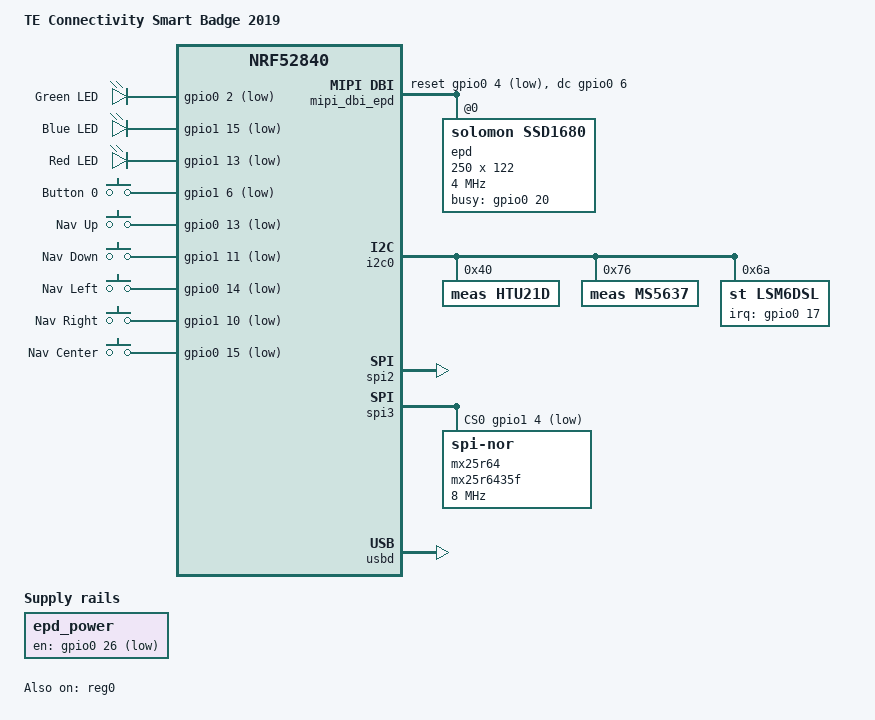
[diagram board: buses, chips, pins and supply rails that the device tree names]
/*
 * Copyright (c) 2025 TE Connectivity
 * SPDX-License-Identifier: Apache-2.0
 */

/dts-v1/;
#include <nordic/nrf52840_qiaa.dtsi>
#include "smart_badge_2019_nrf52840-pinctrl.dtsi"
#include <zephyr/dt-bindings/input/input-event-codes.h>

/ {
	model = "TE Connectivity Smart Badge 2019";
	compatible = "te,smart-badge-2019";

	chosen {
		zephyr,sram = &sram0;
		zephyr,flash = &flash0;
		zephyr,code-partition = &slot0_partition;
		zephyr,display = &epd;
	};

	aliases {
		watchdog0 = &wdt0;
		sw0 = &button0;
		led0 = &led_green;
		led1 = &led_blue;
		led2 = &led_red;
	};

	leds {
		compatible = "gpio-leds";

		led_green: led_0 {
			gpios = <&gpio0 2 GPIO_ACTIVE_LOW>;
			label = "Green LED";
		};

		led_blue: led_1 {
			gpios = <&gpio1 15 GPIO_ACTIVE_LOW>;
			label = "Blue LED";
		};

		led_red: led_2 {
			gpios = <&gpio1 13 GPIO_ACTIVE_LOW>;
			label = "Red LED";
		};
	};

	buttons {
		compatible = "gpio-keys";

		button0: button_0 {
			gpios = <&gpio1 6 (GPIO_PULL_UP | GPIO_ACTIVE_LOW)>;
			label = "Button 0";
			zephyr,code = <INPUT_KEY_0>;
		};
	};

	nav_buttons {
		compatible = "gpio-keys";

		nav_up: nav_up {
			gpios = <&gpio0 13 (GPIO_PULL_UP | GPIO_ACTIVE_LOW)>;
			label = "Nav Up";
			zephyr,code = <INPUT_KEY_UP>;
		};

		nav_down: nav_down {
			gpios = <&gpio1 11 (GPIO_PULL_UP | GPIO_ACTIVE_LOW)>;
			label = "Nav Down";
			zephyr,code = <INPUT_KEY_DOWN>;
		};

		nav_left: nav_left {
			gpios = <&gpio0 14 (GPIO_PULL_UP | GPIO_ACTIVE_LOW)>;
			label = "Nav Left";
			zephyr,code = <INPUT_KEY_LEFT>;
		};

		nav_right: nav_right {
			gpios = <&gpio1 10 (GPIO_PULL_UP | GPIO_ACTIVE_LOW)>;
			label = "Nav Right";
			zephyr,code = <INPUT_KEY_RIGHT>;
		};

		nav_center: nav_center {
			gpios = <&gpio0 15 (GPIO_PULL_UP | GPIO_ACTIVE_LOW)>;
			label = "Nav Center";
			zephyr,code = <INPUT_KEY_ENTER>;
		};
	};

	/* E-ink display power control (active-low P-channel MOSFET) */
	epd_power: epd_power {
		compatible = "regulator-fixed";
		regulator-name = "epd-power";
		enable-gpios = <&gpio0 26 GPIO_ACTIVE_LOW>;
		regulator-boot-on;
	};

	/* MIPI DBI SPI controller for e-ink display */
	mipi_dbi_epd {
		compatible = "zephyr,mipi-dbi-spi";
		spi-dev = <&spi2>;
		dc-gpios = <&gpio0 6 GPIO_ACTIVE_HIGH>;
		reset-gpios = <&gpio0 4 GPIO_ACTIVE_LOW>;
		#address-cells = <1>;
		#size-cells = <0>;

		epd: ssd16xxfb@0 {
			compatible = "solomon,ssd1680";
			mipi-max-frequency = <4000000>;
			reg = <0>;
			width = <250>;
			height = <122>;
			busy-gpios = <&gpio0 20 GPIO_ACTIVE_HIGH>;

			tssv = <0x80>;

			full {
				sdv = [41 a8 32];
				vcom = <0x55>;
				border-waveform = <0x03>;
				dummy-line = <0x30>;
				gate-line-width = <0x0a>;
				lut = [a0 90 50 00 00 00 00 00 00 00
				       50 90 a0 00 00 00 00 00 00 00
				       a0 90 50 00 00 00 00 00 00 00
				       50 90 a0 00 00 00 00 00 00 00
				       00 00 00 00 00 00 00 00 00 00
				       03 03 00 00 00
				       09 09 00 00 02
				       03 03 00 00 00
				       00 00 00 00 00
				       00 00 00 00 00
				       00 00 00 00 00
				       00 00 00 00 00
				       00 00 00 00 00
				       00 00 00 00 00
				       00 00 00 00 00];
			};

			partial {
				sdv = [41 a8 32];
				vcom = <0x26>;
				border-waveform = <0x01>;
				dummy-line = <0x30>;
				gate-line-width = <0x0a>;
				lut = [00 00 00 00 00 00 00 00 00 00
				       80 00 00 00 00 00 00 00 00 00
				       40 00 00 00 00 00 00 00 00 00
				       00 00 00 00 00 00 00 00 00 00
				       00 00 00 00 00 00 00 00 00 00
				       0a 00 00 00 00
				       00 00 00 00 00
				       00 00 00 00 00
				       00 00 00 00 00
				       00 00 00 00 00
				       00 00 00 00 00
				       00 00 00 00 00
				       00 00 00 00 00
				       00 00 00 00 00
				       00 00 00 00 00];
			};
		};
	};
};

&flash0 {
	partitions {
		compatible = "fixed-partitions";
		#address-cells = <1>;
		#size-cells = <1>;

		boot_partition: partition@0 {
			label = "mcuboot";
			reg = <0x00000000 0x0000c000>;
		};

		slot0_partition: partition@c000 {
			label = "image-0";
			reg = <0x0000c000 0x00072000>;
		};

		slot1_partition: partition@7e000 {
			label = "image-1";
			reg = <0x0007e000 0x00072000>;
		};

		storage_partition: partition@f0000 {
			label = "storage";
			reg = <0x000f0000 0x00010000>;
		};
	};
};

&reg0 {
	status = "okay";
};

&reg1 {
	regulator-initial-mode = <NRF5X_REG_MODE_DCDC>;
};

&gpiote {
	status = "okay";
};

&gpio0 {
	status = "okay";
};

&gpio1 {
	status = "okay";
};

&i2c0 {
	compatible = "nordic,nrf-twim";
	status = "okay";
	pinctrl-0 = <&i2c0_default>;
	pinctrl-1 = <&i2c0_sleep>;
	pinctrl-names = "default", "sleep";

	htu21d: htu21d@40 {
		compatible = "meas,htu21d";
		reg = <0x40>;
		zephyr,deferred-init;
	};

	ms5637: ms5637@76 {
		compatible = "meas,ms5637";
		reg = <0x76>;
		zephyr,deferred-init;
	};

	lsm6dsl: lsm6dsl@6a {
		compatible = "st,lsm6dsl";
		reg = <0x6a>;
		irq-gpios = <&gpio0 17 GPIO_ACTIVE_HIGH>;
		zephyr,deferred-init;
	};
};

/* SPI2: E-ink display */
&spi2 {
	compatible = "nordic,nrf-spim";
	status = "okay";
	pinctrl-0 = <&spi2_default>;
	pinctrl-1 = <&spi2_sleep>;
	pinctrl-names = "default", "sleep";
	cs-gpios = <&gpio0 8 GPIO_ACTIVE_LOW>;
};

/* SPI3: External flash MX25R6435F */
&spi3 {
	compatible = "nordic,nrf-spim";
	status = "okay";
	pinctrl-0 = <&spi3_default>;
	pinctrl-1 = <&spi3_sleep>;
	pinctrl-names = "default", "sleep";
	cs-gpios = <&gpio1 4 GPIO_ACTIVE_LOW>;

	mx25r64: mx25r6435f@0 {
		compatible = "jedec,spi-nor";
		reg = <0>;
		spi-max-frequency = <8000000>;
		jedec-id = [c2 28 17];
		size = <67108864>;
		has-dpd;
		t-enter-dpd = <10000>;
		t-exit-dpd = <35000>;
		mxicy,mx25r-power-mode = "low-power";
	};
};

zephyr_udc0: &usbd {
	compatible = "nordic,nrf-usbd";
	status = "okay";
};

#include <../boards/common/usb/cdc_acm_serial.dtsi>
